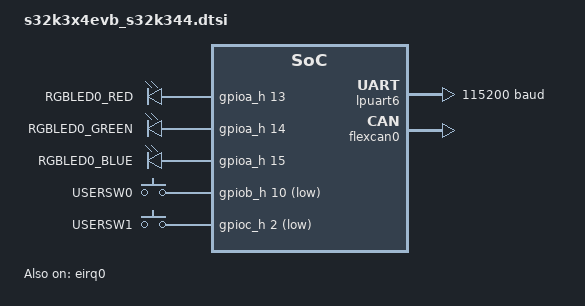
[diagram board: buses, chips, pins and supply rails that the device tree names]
/*
 * SPDX-FileCopyrightText: Copyright (c) 2026 Sachin Kumar
 *
 * SPDX-License-Identifier: Apache-2.0
 */
#include <zephyr/dt-bindings/gpio/gpio.h>
#include <zephyr/dt-bindings/input/input-event-codes.h>
#include "s32k3x4evb_s32k344-pinctrl.dtsi"
#include <arm/nxp/nxp_s32k344_m7.dtsi>

/ {
	aliases {
		led0 = &user_led_red;
		led1 = &user_led_green;
		led2 = &user_led_blue;
		sw0 = &user_button_0;
		sw1 = &user_button_1;
	};
	chosen {
		zephyr,console = &lpuart6;
	};
	leds {
		compatible = "gpio-leds";
		user_led_red: user_led_red {
			gpios = <&gpioa_h 13 (GPIO_PULL_UP | GPIO_ACTIVE_HIGH)>;
			label = "RGBLED0_RED";
		};
		user_led_green: user_led_green {
			gpios = <&gpioa_h 14 (GPIO_PULL_UP | GPIO_ACTIVE_HIGH)>;
			label = "RGBLED0_GREEN";

		};
		user_led_blue: user_led_blue {
			gpios = <&gpioa_h 15 (GPIO_PULL_UP | GPIO_ACTIVE_HIGH)>;
			label = "RGBLED0_BLUE";
		};
	};
	gpio_keys {
		compatible = "gpio-keys";
		user_button_0: button_0 {
			label = "USERSW0";
			gpios = <&gpiob_h 10 GPIO_ACTIVE_LOW>;
			zephyr,code = <INPUT_KEY_0>;
		};
		user_button_1: button_1 {
			label = "USERSW1";
			gpios = <&gpioc_h 2 GPIO_ACTIVE_LOW>;
			zephyr,code = <INPUT_KEY_1>;
		};
	};
};

&eirq0 {
	pinctrl-0 = <&eirq0>;
	pinctrl-names = "default";
	status = "okay";
};

&gpioa_h {
	status = "okay";
};

&gpiob_h {
	status = "okay";
};

&gpioc_h {
	status = "okay";
};

&lpuart6 {
	pinctrl-0 = <&lpuart6_default>;
	current-speed = <115200>;
	pinctrl-names = "default";
	status = "okay";
};

&flexcan0 {
	pinctrl-0 = <&lpuart6_default>;
	pinctrl-names = "default";
	status = "okay";
};
